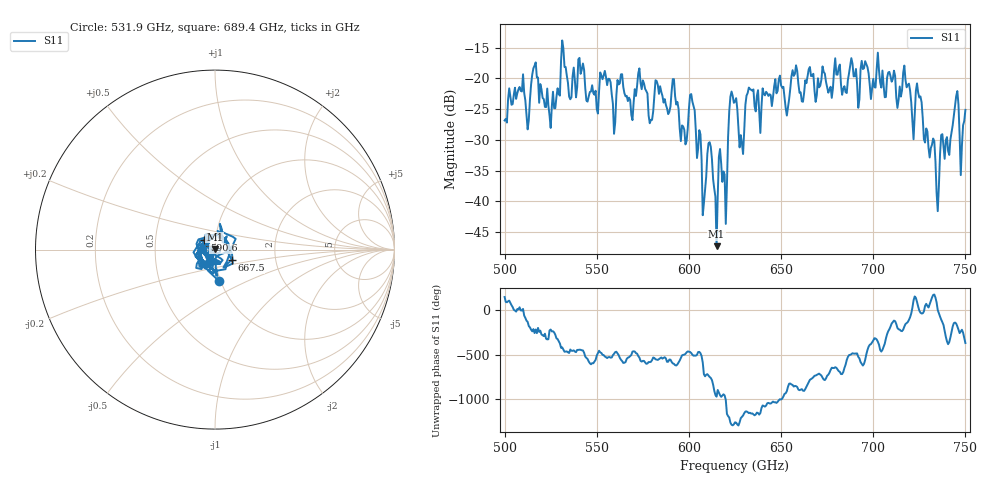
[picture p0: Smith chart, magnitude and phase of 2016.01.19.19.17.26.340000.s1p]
!Created with skrf (http://scikit-rf.org).
# GHz S RI R 50.0
!freq ReS11 ImS11
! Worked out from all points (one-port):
!   401 points, 500 GHz to 750 GHz, reference 50 ohm
!   lowest |S11| = -47.3 dB at 615 GHz (marker M1), VSWR 1.01, Z = 49.8 + j0.401 ohm
!   |S11| at or under -10 dB: start of sweep to end of sweep
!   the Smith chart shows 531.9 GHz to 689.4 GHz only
!   S11 on the Smith chart (normalised r, x): 531.9 GHz: 0.98, -0.35; 590.6 GHz: 0.88, +0.09; 667.5 GHz: 1.19, -0.14; 689.4 GHz: 0.87, -0.14
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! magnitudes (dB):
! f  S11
! 500 GHz  -26.8
! 512.5 GHz  -28.3
! 516.2 GHz  -17.9
! 525.6 GHz  -24.5
! 531.2 GHz  -13.8
! 531.9 GHz  -15.1
! 559.4 GHz  -29.0
! 562.5 GHz  -20.8
! 590.6 GHz  -22.1
! 593.8 GHz  -23.8
! 601.9 GHz  -23.8
! 608.1 GHz  -40.4
! 611.2 GHz  -30.4
! 615 GHz  -47.3
! 619.4 GHz  -35.6
! 622.5 GHz  -23.0
! 625 GHz  -23.8
! 628.8 GHz  -30.6
! 632.5 GHz  -21.5
! 656.2 GHz  -18.7
! 667.5 GHz  -19.2
! 687.5 GHz  -17.9
! 689.4 GHz  -19.7
! 718.8 GHz  -21.0
! 735 GHz  -41.6
! 745 GHz  -22.9
! 748.1 GHz  -30.9
! 750 GHz  -25.1
